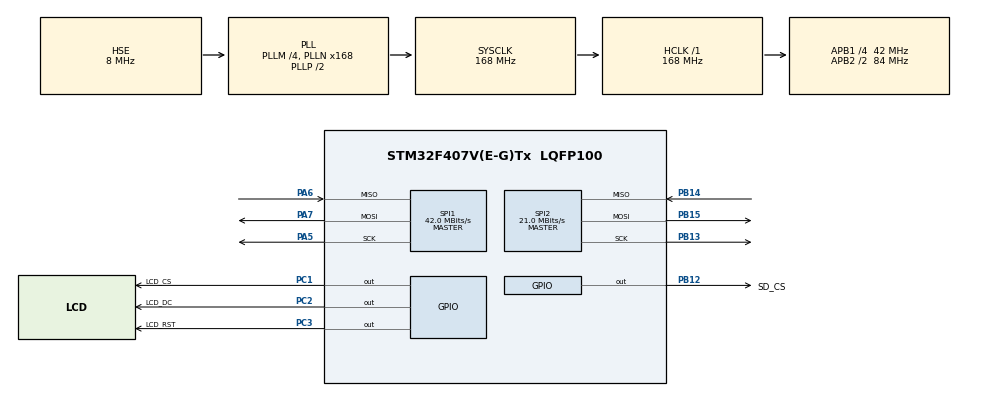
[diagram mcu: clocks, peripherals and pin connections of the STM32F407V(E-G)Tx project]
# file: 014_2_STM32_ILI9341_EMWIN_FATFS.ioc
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FATFS._MAX_SS=512
FATFS._USE_LFN=2
Mcu.Family=STM32F4
Mcu.Name=STM32F407V(E-G)Tx
Mcu.Package=LQFP100
NVIC.PriorityGroup=NVIC_PRIORITYGROUP_4
PA5.Mode=Full_Duplex_Master
PA5.Signal=SPI1_SCK
PA6.Mode=Full_Duplex_Master
PA6.Signal=SPI1_MISO
PA7.Mode=Full_Duplex_Master
PA7.Signal=SPI1_MOSI
PB12.GPIO_Label=SD_CS
PB12.Signal=GPIO_Output
PB13.Mode=Full_Duplex_Master
PB13.Signal=SPI2_SCK
PB14.Mode=Full_Duplex_Master
PB14.Signal=SPI2_MISO
PB15.Mode=Full_Duplex_Master
PB15.Signal=SPI2_MOSI
PC1.GPIO_Label=LCD_CS
PC1.Signal=GPIO_Output
PC2.GPIO_Label=LCD_DC
PC2.Signal=GPIO_Output
PC3.GPIO_Label=LCD_RST
PC3.Signal=GPIO_Output
PH0-OSC_IN.Mode=HSE-External-Oscillator
PH0-OSC_IN.Signal=RCC_OSC_IN
PH1-OSC_OUT.Mode=HSE-External-Oscillator
PH1-OSC_OUT.Signal=RCC_OSC_OUT
ProjectManager.HeapSize=0x200
ProjectManager.StackSize=0x400
ProjectManager.TargetToolchain=STM32CubeIDE
RCC.48MHZClocksFreq_Value=84000000
RCC.AHBFreq_Value=168000000
RCC.APB1CLKDivider=RCC_HCLK_DIV4
RCC.APB1Freq_Value=42000000
RCC.APB1TimFreq_Value=84000000
RCC.APB2CLKDivider=RCC_HCLK_DIV2
RCC.APB2Freq_Value=84000000
RCC.APB2TimFreq_Value=168000000
RCC.CortexFreq_Value=168000000
RCC.HCLKFreq_Value=168000000
RCC.HSE_VALUE=8000000
RCC.HSI_VALUE=16000000
RCC.LSE_VALUE=32768
RCC.PLLM=4
RCC.PLLN=168
RCC.PLLSourceVirtual=RCC_PLLSOURCE_HSE
RCC.SYSCLKFreq_VALUE=168000000
RCC.SYSCLKSource=RCC_SYSCLKSOURCE_PLLCLK
RCC.VCOOutputFreq_Value=336000000
SPI1.BaudRatePrescaler=SPI_BAUDRATEPRESCALER_2
SPI1.CalculateBaudRate=42.0 MBits/s
SPI1.Direction=SPI_DIRECTION_2LINES
SPI1.Mode=SPI_MODE_MASTER
SPI1.VirtualType=VM_MASTER
SPI2.CalculateBaudRate=21.0 MBits/s
SPI2.Direction=SPI_DIRECTION_2LINES
SPI2.Mode=SPI_MODE_MASTER
SPI2.VirtualType=VM_MASTER
VP_CRC_VS_CRC.Mode=CRC_Activate
VP_FATFS_VS_Generic.Mode=User_defined
board=custom

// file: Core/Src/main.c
/* USER CODE BEGIN Header */
/**
  ******************************************************************************
  * @file           : main.c
  * @brief          : Main program body
  ******************************************************************************
  * @attention
  *
  * <h2><center>&copy; Copyright (c) 2021 STMicroelectronics.
  * All rights reserved.</center></h2>
  *
  * This software component is licensed by ST under BSD 3-Clause license,
  * the "License"; You may not use this file except in compliance with the
  * License. You may obtain a copy of the License at:
  *                        opensource.org/licenses/BSD-3-Clause
  *
  ******************************************************************************
  */
/* USER CODE END Header */
#include "main.h"
#include "fatfs.h"

/* USER CODE BEGIN Includes */
#include "GUI.h"
/* USER CODE END Includes */

CRC_HandleTypeDef hcrc;

SPI_HandleTypeDef hspi1;
SPI_HandleTypeDef hspi2;

/* USER CODE BEGIN PV */
FATFS fileSystem;
FIL ImgFile;
FRESULT res;
U8 _acBuffer[1024];
char i=0;
char* file_name[] = {
        "image01.bmp",
        "image02.bmp",
        "image03.bmp",
        "image04.bmp",
};
/* USER CODE END PV */

void SystemClock_Config(void);
static void MX_GPIO_Init(void);
static void MX_CRC_Init(void);
static void MX_SPI1_Init(void);
static void MX_SPI2_Init(void);

/* USER CODE BEGIN 0 */
/*Definitions*/
/*Variables*/

static int _GetData(void * p, const U8 ** ppData, unsigned NumBytesReq, U32 Offset) {
    unsigned int NumBytesRead;
    f_lseek((FIL *) p, Offset); //Set file pointer to the required position
    /*
     * Read file function
     * FIL*     fp      -	Pointer to the file object
     * void*    buff    -	Pointer to data buffer
     * UINT     btr     -	Number of bytes to read
     * UINT*    br      -	Pointer to number of bytes read
     */
    f_read((FIL *) p, (void *) _acBuffer, NumBytesReq, &NumBytesRead); //Read data into buffer
    *ppData = (const U8 *) _acBuffer; //Set pointer to the buffer
    return NumBytesRead;
}
/* USER CODE END 0 */

int main(void)
{

  /* MCU Configuration--------------------------------------------------------*/

  /* Reset of all peripherals, Initializes the Flash interface and the Systick. */
  HAL_Init();

  /* Configure the system clock */
  SystemClock_Config();

  /* Initialize all configured peripherals */
  MX_GPIO_Init();
  MX_CRC_Init();
  MX_SPI1_Init();
  MX_FATFS_Init();
  MX_SPI2_Init();
  /* USER CODE BEGIN 2 */
  HAL_Delay(100);
  GUI_Init();

  res = f_mount(&fileSystem, (TCHAR const*) "0:/", 1);
  if(res != FR_OK) while(1);
  /* USER CODE END 2 */

  /* Infinite loop */
  while (1)
  {

    /* USER CODE BEGIN 3 */
      res = f_open(&ImgFile, file_name[i++], FA_OPEN_EXISTING | FA_READ);
      if (res == FR_OK)
          GUI_BMP_DrawEx(_GetData, &ImgFile, 0, 0);
      f_close(&ImgFile);

      if(i>=4) i=0;
      HAL_Delay(1000); //resimler arası bekleme süresi
  }
  /* USER CODE END 3 */
}

void SystemClock_Config(void)
{
  RCC_OscInitTypeDef RCC_OscInitStruct = {0};
  RCC_ClkInitTypeDef RCC_ClkInitStruct = {0};

  /** Configure the main internal regulator output voltage
  */
  __HAL_RCC_PWR_CLK_ENABLE();
  __HAL_PWR_VOLTAGESCALING_CONFIG(PWR_REGULATOR_VOLTAGE_SCALE1);
  /** Initializes the RCC Oscillators according to the specified parameters
  * in the RCC_OscInitTypeDef structure.
  */
  RCC_OscInitStruct.OscillatorType = RCC_OSCILLATORTYPE_HSE;
  RCC_OscInitStruct.HSEState = RCC_HSE_ON;
  RCC_OscInitStruct.PLL.PLLState = RCC_PLL_ON;
  RCC_OscInitStruct.PLL.PLLSource = RCC_PLLSOURCE_HSE;
  RCC_OscInitStruct.PLL.PLLM = 4;
  RCC_OscInitStruct.PLL.PLLN = 168;
  RCC_OscInitStruct.PLL.PLLP = RCC_PLLP_DIV2;
  RCC_OscInitStruct.PLL.PLLQ = 4;
  if (HAL_RCC_OscConfig(&RCC_OscInitStruct) != HAL_OK)
  {
    Error_Handler();
  }
  /** Initializes the CPU, AHB and APB buses clocks
  */
  RCC_ClkInitStruct.ClockType = RCC_CLOCKTYPE_HCLK|RCC_CLOCKTYPE_SYSCLK
                              |RCC_CLOCKTYPE_PCLK1|RCC_CLOCKTYPE_PCLK2;
  RCC_ClkInitStruct.SYSCLKSource = RCC_SYSCLKSOURCE_PLLCLK;
  RCC_ClkInitStruct.AHBCLKDivider = RCC_SYSCLK_DIV1;
  RCC_ClkInitStruct.APB1CLKDivider = RCC_HCLK_DIV4;
  RCC_ClkInitStruct.APB2CLKDivider = RCC_HCLK_DIV2;

  if (HAL_RCC_ClockConfig(&RCC_ClkInitStruct, FLASH_LATENCY_5) != HAL_OK)
  {
    Error_Handler();
  }
}

static void MX_CRC_Init(void)
{

  hcrc.Instance = CRC;
  if (HAL_CRC_Init(&hcrc) != HAL_OK)
  {
    Error_Handler();
  }

}

static void MX_SPI1_Init(void)
{

  /* SPI1 parameter configuration*/
  hspi1.Instance = SPI1;
  hspi1.Init.Mode = SPI_MODE_MASTER;
  hspi1.Init.Direction = SPI_DIRECTION_2LINES;
  hspi1.Init.DataSize = SPI_DATASIZE_8BIT;
  hspi1.Init.CLKPolarity = SPI_POLARITY_LOW;
  hspi1.Init.CLKPhase = SPI_PHASE_1EDGE;
  hspi1.Init.NSS = SPI_NSS_SOFT;
  hspi1.Init.BaudRatePrescaler = SPI_BAUDRATEPRESCALER_2;
  hspi1.Init.FirstBit = SPI_FIRSTBIT_MSB;
  hspi1.Init.TIMode = SPI_TIMODE_DISABLE;
  hspi1.Init.CRCCalculation = SPI_CRCCALCULATION_DISABLE;
  hspi1.Init.CRCPolynomial = 10;
  if (HAL_SPI_Init(&hspi1) != HAL_OK)
  {
    Error_Handler();
  }

}

static void MX_SPI2_Init(void)
{

  /* SPI2 parameter configuration*/
  hspi2.Instance = SPI2;
  hspi2.Init.Mode = SPI_MODE_MASTER;
  hspi2.Init.Direction = SPI_DIRECTION_2LINES;
  hspi2.Init.DataSize = SPI_DATASIZE_8BIT;
  hspi2.Init.CLKPolarity = SPI_POLARITY_LOW;
  hspi2.Init.CLKPhase = SPI_PHASE_1EDGE;
  hspi2.Init.NSS = SPI_NSS_SOFT;
  hspi2.Init.BaudRatePrescaler = SPI_BAUDRATEPRESCALER_2;
  hspi2.Init.FirstBit = SPI_FIRSTBIT_MSB;
  hspi2.Init.TIMode = SPI_TIMODE_DISABLE;
  hspi2.Init.CRCCalculation = SPI_CRCCALCULATION_DISABLE;
  hspi2.Init.CRCPolynomial = 10;
  if (HAL_SPI_Init(&hspi2) != HAL_OK)
  {
    Error_Handler();
  }

}

static void MX_GPIO_Init(void)
{
  GPIO_InitTypeDef GPIO_InitStruct = {0};

  /* GPIO Ports Clock Enable */
  __HAL_RCC_GPIOH_CLK_ENABLE();
  __HAL_RCC_GPIOC_CLK_ENABLE();
  __HAL_RCC_GPIOA_CLK_ENABLE();
  __HAL_RCC_GPIOB_CLK_ENABLE();

  /*Configure GPIO pin Output Level */
  HAL_GPIO_WritePin(GPIOC, LCD_CS_Pin|LCD_DC_Pin|LCD_RST_Pin, GPIO_PIN_RESET);

  /*Configure GPIO pin Output Level */
  HAL_GPIO_WritePin(SD_CS_GPIO_Port, SD_CS_Pin, GPIO_PIN_RESET);

  /*Configure GPIO pins : LCD_CS_Pin LCD_DC_Pin LCD_RST_Pin */
  GPIO_InitStruct.Pin = LCD_CS_Pin|LCD_DC_Pin|LCD_RST_Pin;
  GPIO_InitStruct.Mode = GPIO_MODE_OUTPUT_PP;
  GPIO_InitStruct.Pull = GPIO_NOPULL;
  GPIO_InitStruct.Speed = GPIO_SPEED_FREQ_LOW;
  HAL_GPIO_Init(GPIOC, &GPIO_InitStruct);

  /*Configure GPIO pin : SD_CS_Pin */
  GPIO_InitStruct.Pin = SD_CS_Pin;
  GPIO_InitStruct.Mode = GPIO_MODE_OUTPUT_PP;
  GPIO_InitStruct.Pull = GPIO_NOPULL;
  GPIO_InitStruct.Speed = GPIO_SPEED_FREQ_LOW;
  HAL_GPIO_Init(SD_CS_GPIO_Port, &GPIO_InitStruct);

}

void Error_Handler(void)
{
  __disable_irq();
  while (1)
  {
  }
}

/************************ (C) COPYRIGHT STMicroelectronics *****END OF FILE****/
